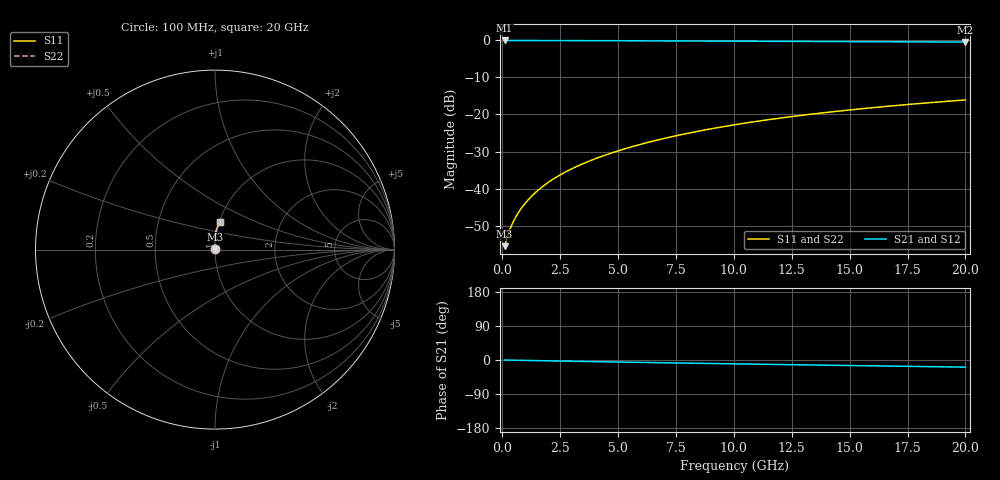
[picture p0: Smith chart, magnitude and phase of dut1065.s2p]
! Touchstone file exported from HFSS 2024.1.0
!  File:  C:/UserFiles/LocalFiles/RDL_TSV_Batchsim/temp_RDL_top_1065_1780045010.aedt
!  Generated:  04:59:00 PM May 29, 2026
!  Design:  RDL_top
!  Project:  temp_RDL_top_1065_1780045010
!  Setup:  Setup1
!  Solution:  Sweep
! Variables:
!  dtsv = 10.80580581um
!  hbump = 3um
!  htsv = 67.66um
!  ldown = 100um
!  lrdl = 285.38um
!  p = 40
!  p1 = 40.29um
!  rhole = 1um
!  t = 450um
!  tdown = 3.915915916um
!  trdl = 3.28um
!  wdown = 15.38538539um
!  wrdl = 24.91um
# GHz S MA R 50.000000
! Terminal data exported
! Port[1] = Box2_T1
! Port[2] = Box2_T2
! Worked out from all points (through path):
!   200 points, 100 MHz to 20 GHz, reference 50 ohm
!   highest |S21| = -0.01 dB at 100 MHz (marker M1); lowest = -0.4 dB at 20 GHz (marker M2)
!   group delay of S21, straight-line fit = 2.58 ps
!   lowest |S11| = -55.5 dB at 100 MHz (marker M3), VSWR 1.00, Z = 50.1 + j0.0741 ohm
!   |S11| at or under -10 dB: start of sweep to end of sweep
!   |S22| runs from -55.5 to -16.1 dB; largest |S21 - S12| = 3.2e-15
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0.1  0.00167 26.3  0.9985 -0.1  0.9985 -0.1  0.00167 26.3
! Gamma 0 0 0 0
! Port Impedance 50 0 50 0
0.2  0.002133 42.0  0.9984 -0.2  0.9984 -0.2  0.002133 42.0
0.3  0.002656 50.8  0.9983 -0.4  0.9983 -0.4  0.002656 50.8
0.4  0.00318 56.6  0.9982 -0.5  0.9982 -0.5  0.00318 56.6
0.5  0.003702 61.0  0.9981 -0.6  0.9981 -0.6  0.003702 61.0
0.6  0.004226 64.4  0.998 -0.7  0.998 -0.7  0.004226 64.4
0.8  0.005293 69.7  0.9978 -0.9  0.9978 -0.9  0.005293 69.7
1  0.00639 73.5  0.9976 -1.1  0.9976 -1.1  0.00639 73.5
1.2  0.007514 76.4  0.9974 -1.3  0.9974 -1.3  0.007514 76.4
1.7  0.01042 81.3  0.9969 -1.9  0.9969 -1.9  0.01042 81.3
2.2  0.01344 84.4  0.9962 -2.4  0.9962 -2.4  0.01344 84.4
2.8  0.0172 86.9  0.9951 -3.1  0.9951 -3.1  0.0172 86.9
3.5  0.02178 88.9  0.9937 -3.8  0.9937 -3.8  0.02178 88.9
4.2  0.02657 90.2  0.992 -4.6  0.992 -4.6  0.02657 90.2
5  0.03229 91.1  0.9899 -5.4  0.9899 -5.4  0.03229 91.1
6.8  0.04602 91.8  0.9848 -7.2  0.9848 -7.2  0.04601 91.8
8.4  0.05898 91.2  0.9801 -8.7  0.9801 -8.7  0.05897 91.2
10.1  0.07323 90.1  0.9752 -10.3  0.9752 -10.3  0.07322 90.0
11.7  0.08689 88.6  0.9708 -11.7  0.9708 -11.7  0.08688 88.6
13.4  0.1015 86.9  0.9663 -13.2  0.9663 -13.2  0.1015 86.9
16.7  0.1297 83.3  0.9581 -16.0  0.9581 -16.0  0.1296 83.3
20  0.1572 79.7  0.9503 -18.8  0.9503 -18.8  0.1572 79.7
